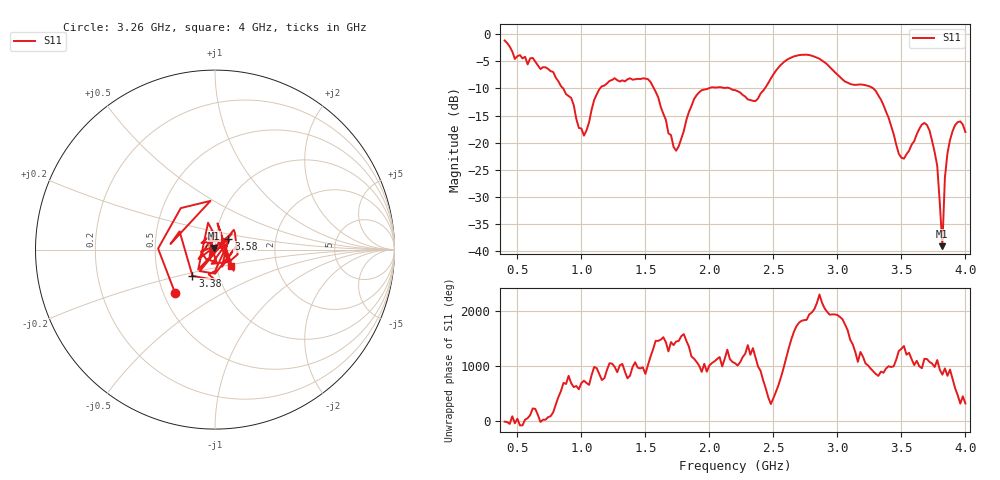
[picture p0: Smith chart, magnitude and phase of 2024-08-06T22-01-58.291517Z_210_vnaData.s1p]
!Created with skrf (http://scikit-rf.org).
# Hz S RI R 50.0
!freq ReS11 ImS11
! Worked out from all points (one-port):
!   181 points, 400 MHz to 4 GHz, reference 50 ohm
!   lowest |S11| = -39.1 dB at 3.82 GHz (marker M1), VSWR 1.02, Z = 49.5 + j0.967 ohm
!   |S11| at or under -10 dB: 857.6 MHz to 1.145 GHz (287.4 MHz wide, 28.7 % of centre); 1.567 GHz to 1.991 GHz (424 MHz wide, 23.8 % of centre); 3.281 GHz to end of sweep (the widest 3 of 4)
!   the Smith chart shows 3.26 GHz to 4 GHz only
!   S11 on the Smith chart (normalised r, x): 3.26 GHz: 0.57, -0.31; 3.38 GHz: 0.75, -0.23; 3.58 GHz: 1.15, +0.14; 4 GHz: 1.17, -0.21
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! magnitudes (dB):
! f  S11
! 400 MHz  -1.1
! 480 MHz  -4.5
! 860 MHz  -10.1
! 1.02 GHz  -18.7
! 1.14 GHz  -10.1
! 1.3 GHz  -8.7
! 1.54 GHz  -8.8
! 1.72 GHz  -20.8
! 1.76 GHz  -20.7
! 1.92 GHz  -10.7
! 2.2 GHz  -10.3
! 2.36 GHz  -12.3
! 2.66 GHz  -4.1
! 2.86 GHz  -4.5
! 3.1 GHz  -9.2
! 3.26 GHz  -9.7
! 3.38 GHz  -14.3
! 3.48 GHz  -22.1
! 3.56 GHz  -21.5
! 3.58 GHz  -20.4
! 3.66 GHz  -16.7
! 3.72 GHz  -17.8
! 3.78 GHz  -24.3
! 3.82 GHz  -39.1
! 3.84 GHz  -26.4
! 3.88 GHz  -19.5
! 3.94 GHz  -16.2
! 4 GHz  -18.1
